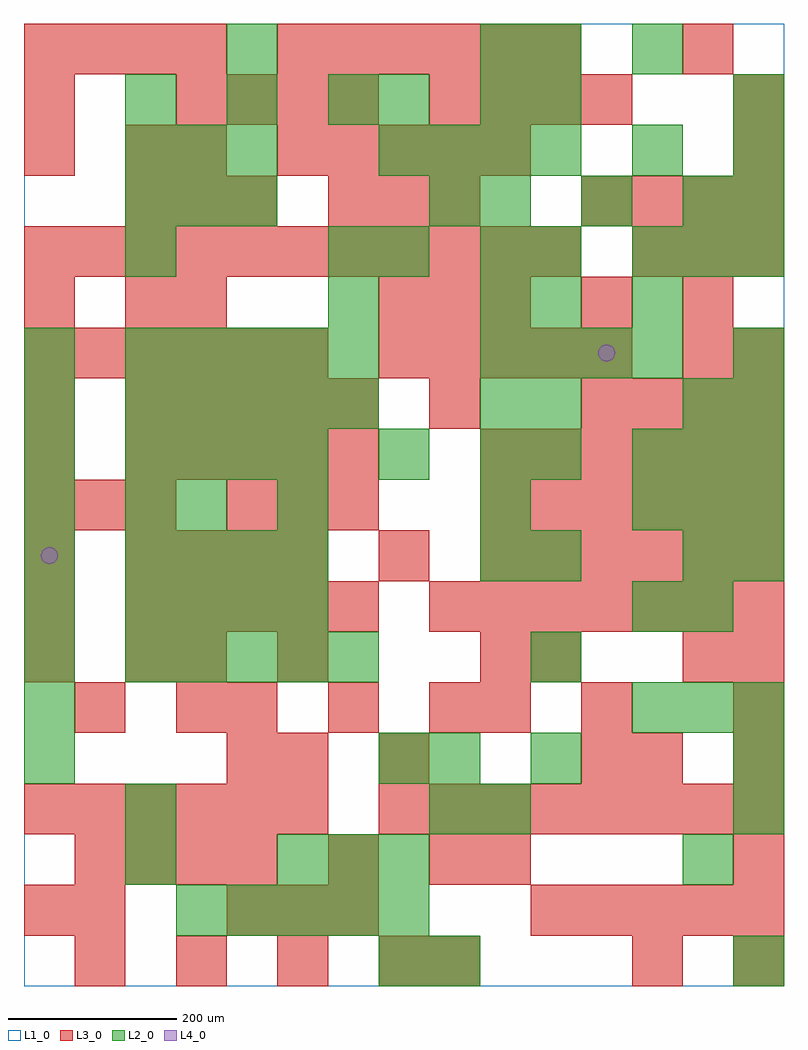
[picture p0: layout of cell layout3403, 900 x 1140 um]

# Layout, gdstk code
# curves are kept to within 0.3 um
import gdstk
lib = gdstk.Library(unit=1e-6, precision=1e-09)
def R(c, l, rs):  # rectangles x0, y0, x1, y1
    for r in rs: c.add(gdstk.rectangle(r[:2], r[2:], *l))
def A(c, l, x, y, w, h, nx, ny, dx, dy):  # array of equal rectangles
    R(c, l, [(x+i*dx, y+j*dy, x+i*dx+w, y+j*dy+h) for i in range(nx) for j in range(ny)])
def P(c, l, *ps):  # polygons
    for p in ps: c.add(gdstk.Polygon(p, *l))
L1_0 = (1, 0)
L2_0 = (2, 0)
L3_0 = (3, 0)
L4_0 = (4, 0)

layout3403 = lib.new_cell('layout3403')
R(layout3403, L1_0, [(0,0,900,1140)])
A(layout3403, L2_0, 180, 60, 60, 60, 5, 1, 60, 0)
A(layout3403, L2_0, 300, 120, 60, 60, 3, 1, 60, 0)
A(layout3403, L2_0, 0, 240, 60, 60, 1, 9, 0, 60)
A(layout3403, L2_0, 600, 240, 60, 60, 1, 4, 0, 120)
A(layout3403, L2_0, 720, 300, 60, 60, 3, 2, 60, 240)
A(layout3403, L2_0, 120, 360, 60, 60, 5, 2, 60, 300)
A(layout3403, L2_0, 120, 420, 60, 60, 4, 2, 60, 60)
A(layout3403, L2_0, 540, 480, 60, 60, 1, 4, 0, 60)
A(layout3403, L2_0, 120, 600, 60, 60, 4, 1, 60, 0)
A(layout3403, L2_0, 720, 600, 60, 60, 3, 2, 60, 240)
A(layout3403, L2_0, 120, 720, 60, 60, 5, 1, 60, 0)
A(layout3403, L2_0, 540, 720, 60, 60, 4, 1, 60, 0)
A(layout3403, L2_0, 120, 900, 60, 60, 3, 2, 60, 60)
A(layout3403, L2_0, 540, 900, 60, 60, 3, 1, 120, 0)
A(layout3403, L2_0, 840, 900, 60, 60, 1, 3, 0, 60)
A(layout3403, L2_0, 420, 960, 60, 60, 4, 1, 60, 0)
A(layout3403, L2_0, 120, 1020, 60, 60, 3, 1, 120, 0)
R(layout3403, L2_0, [(420,0,480,60), (480,0,540,60), (840,0,900,60), (120,120,180,180), (780,120,840,180), (120,180,180,240), (480,180,540,240), (540,180,600,240), (840,180,900,240), (420,240,480,300), (480,240,540,300), (840,240,900,300), (720,420,780,480), (780,420,840,480), (780,480,840,540), (840,480,900,540), (120,540,180,600), (180,540,240,600), (300,540,360,600), (420,600,480,660), (600,660,660,720), (780,660,840,720), (840,660,900,720), (840,720,900,780), (360,780,420,840), (540,780,600,840), (600,780,660,840), (720,780,780,840), (120,840,180,900), (360,840,420,900), (420,840,480,900), (540,840,600,900), (600,840,660,900), (480,900,540,960), (720,960,780,1020), (420,1020,480,1080), (540,1020,600,1080), (600,1020,660,1080), (240,1080,300,1140), (540,1080,600,1140), (600,1080,660,1140), (720,1080,780,1140)])
A(layout3403, L3_0, 60, 0, 60, 60, 4, 1, 120, 0)
A(layout3403, L3_0, 840, 0, 60, 60, 1, 3, 0, 120)
A(layout3403, L3_0, 240, 60, 60, 60, 3, 2, 60, 480)
A(layout3403, L3_0, 600, 60, 60, 60, 5, 1, 60, 0)
A(layout3403, L3_0, 60, 120, 60, 60, 4, 1, 60, 0)
A(layout3403, L3_0, 0, 180, 60, 60, 6, 2, 60, 540)
A(layout3403, L3_0, 420, 180, 60, 60, 8, 1, 60, 0)
A(layout3403, L3_0, 240, 300, 60, 60, 3, 1, 120, 0)
A(layout3403, L3_0, 0, 360, 60, 60, 1, 3, 0, 60)
A(layout3403, L3_0, 120, 420, 60, 60, 5, 2, 60, 180)
A(layout3403, L3_0, 480, 420, 60, 60, 7, 1, 60, 0)
A(layout3403, L3_0, 120, 480, 60, 60, 4, 1, 60, 0)
A(layout3403, L3_0, 540, 480, 60, 60, 6, 3, 60, 60)
A(layout3403, L3_0, 0, 540, 60, 60, 3, 1, 60, 0)
A(layout3403, L3_0, 120, 660, 60, 60, 5, 1, 60, 0)
A(layout3403, L3_0, 660, 660, 60, 60, 4, 2, 60, 240)
A(layout3403, L3_0, 420, 720, 60, 60, 5, 1, 60, 0)
A(layout3403, L3_0, 420, 780, 60, 60, 3, 1, 60, 0)
A(layout3403, L3_0, 0, 840, 60, 60, 11, 1, 60, 0)
A(layout3403, L3_0, 720, 840, 60, 60, 3, 1, 60, 0)
A(layout3403, L3_0, 120, 900, 60, 60, 3, 1, 60, 0)
A(layout3403, L3_0, 360, 900, 60, 60, 3, 1, 60, 0)
A(layout3403, L3_0, 300, 960, 60, 60, 5, 1, 60, 0)
A(layout3403, L3_0, 180, 1020, 60, 60, 4, 1, 60, 0)
A(layout3403, L3_0, 480, 1020, 60, 60, 4, 1, 60, 0)
A(layout3403, L3_0, 0, 1080, 60, 60, 4, 1, 60, 0)
A(layout3403, L3_0, 300, 1080, 60, 60, 6, 1, 60, 0)
R(layout3403, L3_0, [(480,0,540,60), (720,0,780,60), (0,60,60,120), (60,60,120,120), (360,120,420,180), (480,120,540,180), (540,120,600,180), (240,240,300,300), (300,240,360,300), (420,240,480,300), (660,240,720,300), (720,240,780,300), (60,300,120,360), (180,300,240,360), (540,300,600,360), (660,300,720,360), (840,300,900,360), (120,360,180,420), (180,360,240,420), (300,360,360,420), (540,360,600,420), (600,360,660,420), (780,360,840,420), (840,360,900,420), (420,480,480,540), (0,600,60,660), (0,660,60,720), (480,660,540,720), (780,720,840,780), (840,720,900,780), (0,780,60,840), (120,780,180,840), (180,780,240,840), (660,780,720,840), (780,780,840,840), (0,960,60,1020), (120,960,180,1020), (180,960,240,1020), (840,960,900,1020), (0,1020,60,1080), (840,1020,900,1080), (780,1080,840,1140)])
P(layout3403, L4_0, [(40,510),(39.239,513.827),(37.071,517.071),(33.827,519.239),(30,520),(26.173,519.239),(22.929,517.071),(20.761,513.827),(20,510),(20.761,506.173),(22.929,502.929),(26.173,500.761),(30,500),(33.827,500.761),(37.071,502.929),(39.239,506.173)],
  [(700,750),(699.239,753.827),(697.071,757.071),(693.827,759.239),(690,760),(686.173,759.239),(682.929,757.071),(680.761,753.827),(680,750),(680.761,746.173),(682.929,742.929),(686.173,740.761),(690,740),(693.827,740.761),(697.071,742.929),(699.239,746.173)])

lib.write_gds('layout3403.gds')
